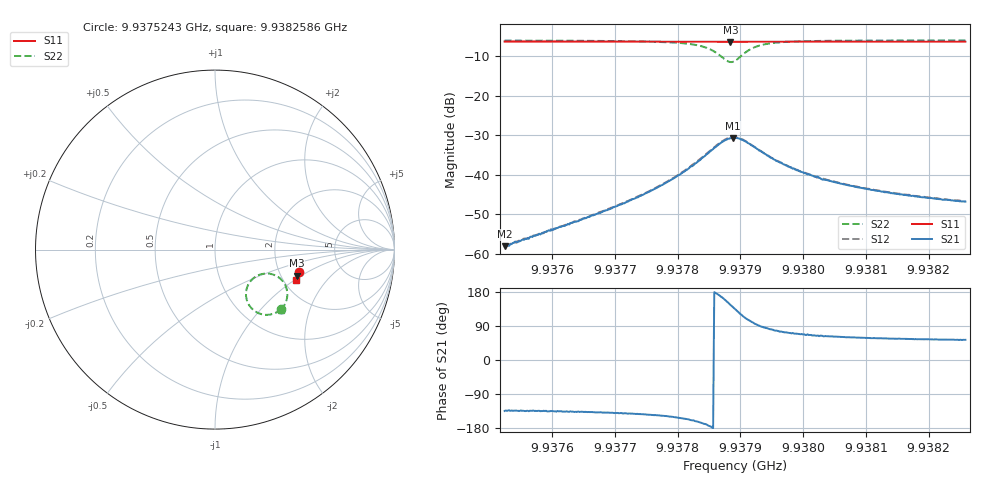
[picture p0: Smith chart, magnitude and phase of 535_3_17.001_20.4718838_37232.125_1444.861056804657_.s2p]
#  HZ  S  RI  R  50.00
! Rohde & Schwarz Vector Network Analyzer
! Rohde-Schwarz,ZNB20-2Port,1311601062101988,3.16
! Created: UTC 3/20/2024, 11:16:05 PM
! freq[Hz]  re:S11  im:S11  re:S21  im:S21  re:S12  im:S12  re:S22  im:S22
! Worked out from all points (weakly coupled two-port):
!   401 points, 9.9375243 GHz to 9.9382586 GHz, reference 50 ohm
!   highest |S21| = -30.70 dB at 9.9378878 GHz (marker M1); lowest = -58.1 dB at 9.9375243 GHz (marker M2)
!   lowest |S11| = -6.4 dB at 9.9378841 GHz (marker M3), VSWR 2.83, Z = 121 - j45.6 ohm
!   |S11| at or under -10 dB: nowhere
!   |S22| runs from -11.5 to -6.1 dB; largest |S21 - S12| = 0.0012
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9.93752426e9  0.4667 -0.1231  -0.000871 -0.000888  -0.000883 -0.000905  0.3686 -0.3321
9.93764726e9  0.4639 -0.1315  -0.00196 -0.00186  -0.00203 -0.00185  0.3524 -0.3442
9.93771702e9  0.462 -0.1361  -0.00343 -0.00283  -0.00353 -0.00281  0.3363 -0.3529
9.93777026e9  0.4606 -0.1398  -0.00584 -0.00392  -0.00602 -0.00389  0.3128 -0.3606
9.93780882e9  0.4592 -0.1425  -0.00969 -0.00466  -0.00992 -0.00459  0.2798 -0.3632
9.9378437e9  0.4574 -0.1447  -0.0169 -0.00325  -0.0175 -0.00285  0.2212 -0.3424
9.93785655e9  0.4564 -0.1452  -0.0211 -0.000164  -0.0215 0.000185  0.1927 -0.3132
9.9378694e9  0.4556 -0.1454  -0.0247 0.00584  -0.0251 0.00665  0.173 -0.2598
9.93787858e9  0.4551 -0.1454  -0.0251 0.0122  -0.0253 0.0132  0.1796 -0.2085
9.93788409e9  0.4549 -0.1451  -0.0239 0.0163  -0.0237 0.0174  0.1961 -0.1786
9.93788776e9  0.4551 -0.1452  -0.0224 0.0187  -0.022 0.0198  0.2118 -0.1614
9.93789143e9  0.4553 -0.1449  -0.0203 0.0208  -0.02 0.022  0.2309 -0.1481
9.93790061e9  0.4556 -0.145  -0.0142 0.0241  -0.0136 0.025  0.2836 -0.1329
9.93791346e9  0.4563 -0.1456  -0.00628 0.0239  -0.00567 0.0244  0.3443 -0.1481
9.93793366e9  0.4566 -0.1474  0.000736 0.0195  0.00106 0.0195  0.3897 -0.1947
9.93795569e9  0.4566 -0.1493  0.00332 0.0149  0.00368 0.015  0.4022 -0.2345
9.93797955e9  0.4561 -0.1512  0.00395 0.0117  0.00424 0.0116  0.4022 -0.2621
9.93801443e9  0.4553 -0.1538  0.00416 0.00876  0.00444 0.00879  0.3971 -0.2861
9.93803279e9  0.4549 -0.155  0.00401 0.00763  0.00416 0.00783  0.3939 -0.2946
9.93806951e9  0.4539 -0.1575  0.00371 0.0064  0.00384 0.00641  0.3879 -0.3069
9.93813744e9  0.4521 -0.1621  0.00326 0.00494  0.00336 0.00493  0.3788 -0.3211
9.9382586e9  0.4487 -0.17  0.00272 0.00364  0.00283 0.00362  0.3667 -0.3359
